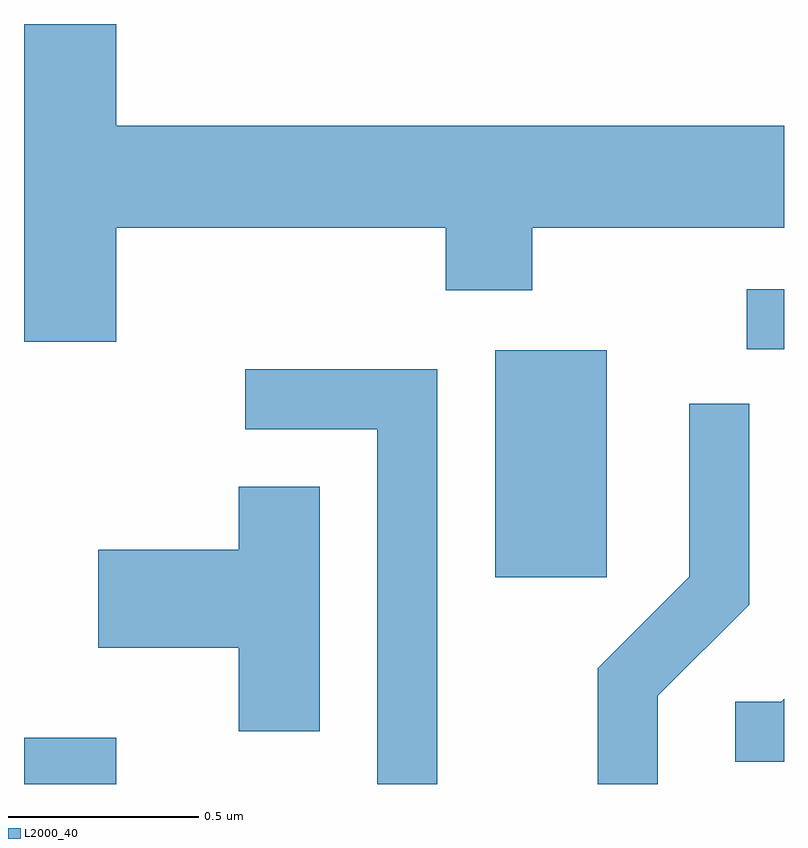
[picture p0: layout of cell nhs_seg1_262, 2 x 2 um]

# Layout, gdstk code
import gdstk
lib = gdstk.Library(unit=1e-6, precision=1e-09)
def R(c, l, rs):  # rectangles x0, y0, x1, y1
    for r in rs: c.add(gdstk.rectangle(r[:2], r[2:], *l))
def P(c, l, *ps):  # polygons
    for p in ps: c.add(gdstk.Polygon(p, *l))
L2000_40 = (2000, 40)

nhs_seg1_262 = lib.new_cell('nhs_seg1_262')
R(nhs_seg1_262, L2000_40, [(186.611,964.712,186.854,964.834), (187.851,965.256,188.144,965.854), (188.513,965.856,188.611,966.014)])
P(nhs_seg1_262, L2000_40, [(186.854,966.176),(187.721,966.176),(187.721,966.011),(187.949,966.011),(187.949,966.176),(188.611,966.176),(188.611,966.444),(186.854,966.444),(186.854,966.712),(186.611,966.712),(186.611,965.876),(186.854,965.876)],
  [(187.699,965.804),(187.193,965.804),(187.193,965.646),(187.541,965.646),(187.541,964.712),(187.699,964.712)],
  [(188.279,964.944),(188.519,965.184),(188.519,965.713),(188.361,965.713),(188.361,965.257),(188.121,965.017),(188.121,964.712),(188.279,964.712)],
  [(187.389,965.494),(187.176,965.494),(187.176,965.329),(186.806,965.329),(186.806,965.071),(187.176,965.071),(187.176,964.851),(187.389,964.851)],
  [(188.611,964.936),(188.604,964.929),(188.483,964.929),(188.483,964.771),(188.611,964.771)])

lib.write_gds('nhs_seg1_262.gds')
